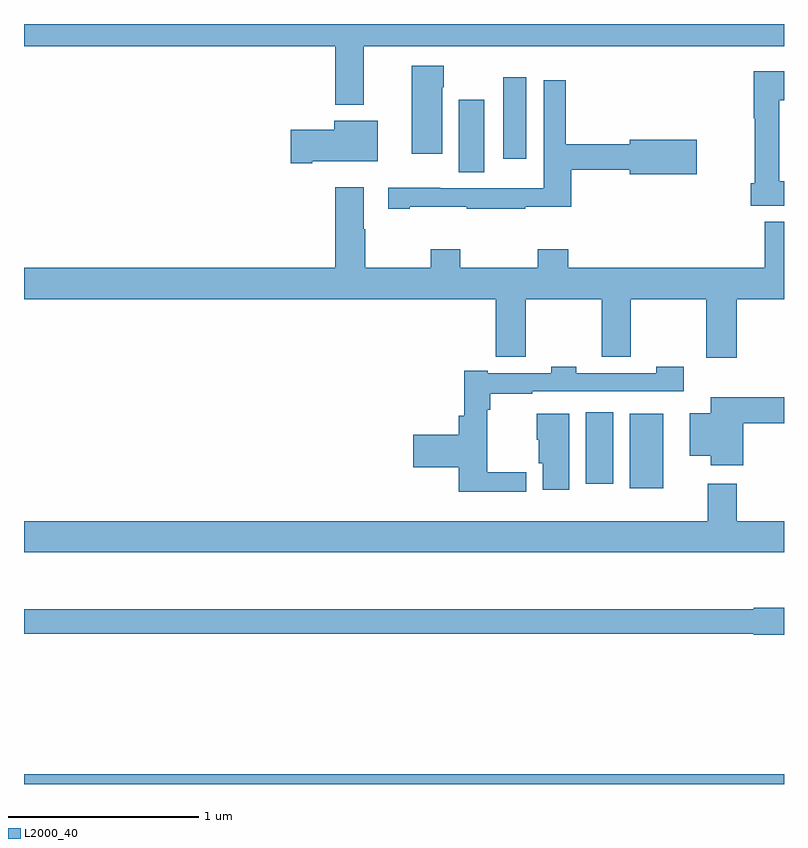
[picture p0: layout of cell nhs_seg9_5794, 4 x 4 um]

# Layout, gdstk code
import gdstk
lib = gdstk.Library(unit=1e-6, precision=1e-09)
def R(c, l, rs):  # rectangles x0, y0, x1, y1
    for r in rs: c.add(gdstk.rectangle(r[:2], r[2:], *l))
def P(c, l, *ps):  # polygons
    for p in ps: c.add(gdstk.Polygon(p, *l))
L2000_40 = (2000, 40)

nhs_seg9_5794 = lib.new_cell('nhs_seg9_5794')
R(nhs_seg9_5794, L2000_40, [(447,1228.5,451,1228.552), (450.188,1230.056,450.364,1230.448), (449.957,1230.081,450.1,1230.457), (449.288,1231.72,449.422,1232.101), (449.522,1231.791,449.644,1232.221)])
P(nhs_seg9_5794, L2000_40, [(448.789,1232.384),(451,1232.384),(451,1232.5),(447,1232.5),(447,1232.384),(448.637,1232.384),(448.637,1232.075),(448.789,1232.075)],
  [(449.2,1232.168),(449.208,1232.168),(449.208,1232.281),(449.042,1232.281),(449.042,1231.818),(449.2,1231.818)],
  [(451,1231.672),(450.976,1231.672),(450.976,1232.099),(451,1232.099),(451,1232.251),(450.842,1232.251),(450.842,1232.003),(450.847,1232.003),(450.847,1231.662),(450.824,1231.662),(450.824,1231.544),(451,1231.544)],
  [(449.029,1231.537),(449.329,1231.537),(449.329,1231.527),(449.639,1231.527),(449.639,1231.537),(449.879,1231.537),(449.879,1231.732),(450.188,1231.732),(450.188,1231.709),(450.541,1231.709),(450.541,1231.892),(450.188,1231.892),(450.188,1231.868),(449.852,1231.868),(449.852,1232.203),(449.736,1232.203),(449.736,1231.636),(449.526,1231.636),(449.526,1231.635),(449.192,1231.635),(449.192,1231.637),(448.917,1231.637),(448.917,1231.527),(449.029,1231.527)],
  [(448.516,1231.778),(448.861,1231.778),(448.861,1231.99),(448.634,1231.99),(448.634,1231.944),(448.404,1231.944),(448.404,1231.766),(448.516,1231.766)],
  [(450.752,1231.052),(451,1231.052),(451,1231.459),(450.899,1231.459),(450.899,1231.216),(449.864,1231.216),(449.864,1231.315),(449.704,1231.315),(449.704,1231.216),(449.295,1231.216),(449.295,1231.315),(449.14,1231.315),(449.14,1231.216),(448.797,1231.216),(448.797,1231.421),(448.789,1231.421),(448.789,1231.642),(448.637,1231.642),(448.637,1231.216),(447,1231.216),(447,1231.052),(449.483,1231.052),(449.483,1230.748),(449.642,1230.748),(449.642,1231.052),(450.04,1231.052),(450.04,1230.748),(450.194,1230.748),(450.194,1231.052),(450.592,1231.052),(450.592,1230.744),(450.752,1230.744)],
  [(449.644,1230.14),(449.438,1230.14),(449.438,1230.47),(449.453,1230.47),(449.453,1230.555),(449.675,1230.555),(449.675,1230.567),(450.472,1230.567),(450.472,1230.696),(450.327,1230.696),(450.327,1230.663),(449.907,1230.663),(449.907,1230.696),(449.775,1230.696),(449.775,1230.663),(449.44,1230.663),(449.44,1230.676),(449.317,1230.676),(449.317,1230.439),(449.288,1230.439),(449.288,1230.338),(449.049,1230.338),(449.049,1230.167),(449.288,1230.167),(449.288,1230.038),(449.644,1230.038)],
  [(450.785,1230.4),(451,1230.4),(451,1230.536),(450.614,1230.536),(450.614,1230.451),(450.503,1230.451),(450.503,1230.227),(450.614,1230.227),(450.614,1230.177),(450.785,1230.177)],
  [(449.869,1230.448),(449.699,1230.448),(449.699,1230.312),(449.708,1230.312),(449.708,1230.189),(449.729,1230.189),(449.729,1230.048),(449.869,1230.048)],
  [(451,1229.884),(450.752,1229.884),(450.752,1230.079),(450.599,1230.079),(450.599,1229.884),(447,1229.884),(447,1229.72),(451,1229.72)],
  [(451,1229.427),(450.84,1229.427),(450.84,1229.419),(447,1229.419),(447,1229.29),(450.84,1229.29),(450.84,1229.285),(451,1229.285)])

lib.write_gds('nhs_seg9_5794.gds')
